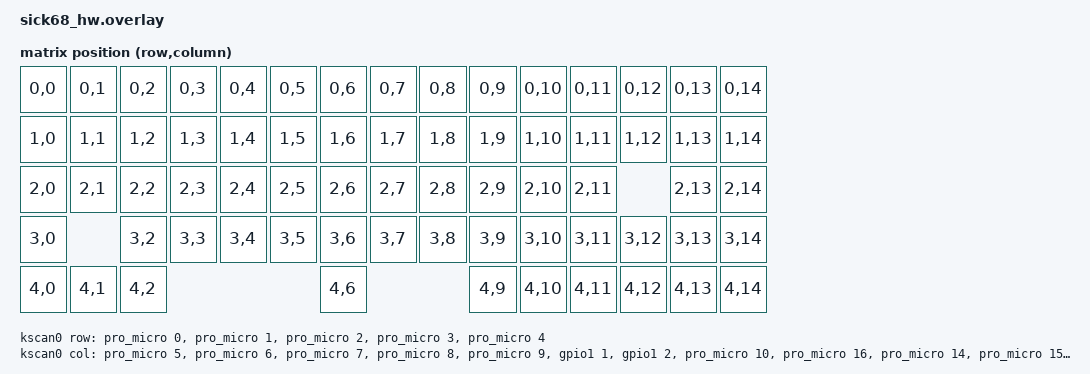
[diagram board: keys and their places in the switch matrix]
/*
 * ZMK Device Tree Overlay for Sick68 Handwired (sick68_hw)
 * Controller: nice_nano_v2 / SuperMini nRF52840
 *
 * QMK Pin Mapping from keyboard.json:
 *   Rows: ["D3", "D2", "D1", "D0", "D4"]
 *   Cols: ["C6", "D7", "E6", "B4", "B5", "B0", "D5", "B6", "B2", "B3", "B1", "F7", "F6", "F5", "F4"]
 *
 * QMK ATmega32u4 to ZMK pro_micro pin translation:
 *   D0=3, D1=2, D2=1, D3=0, D4=4, C6=5, D7=6, E6=7, B4=8, B5=9, B6=10
 *   B2=16(MOSI), B3=14(MISO), B1=15(SCK), F7=18(A0), F6=19(A1), F5=20(A2), F4=21(A3)
 *
 * IMPORTANT: The QMK config uses B0 and D5 which are NOT on the pro_micro connector.
 * For nice_nano/SuperMini, you need to either:
 *   1. Rewire those 2 columns to available GPIO pins P1.01 and P1.02, OR
 *   2. Choose different pins that are physically accessible on your board
 *
 * Available pro_micro pins: 0-10, 14, 15, 16, 18, 19, 20, 21 (18 pins total)
 * Required pins: 5 rows + 15 cols = 20 pins
 * Solution: Use 2 direct GPIO pins (P1.01 and P1.02) for B0 and D5 columns
 *           These may require soldering to test pads on the SuperMini board
 */

#include <dt-bindings/gpio/gpio.h>
#include <dt-bindings/zmk/matrix_transform.h>
#include <physical_layouts.dtsi>

/ {
    chosen {
        zmk,kscan = &kscan0;
        zmk,physical-layout = &physical_layout0;
    };

    kscan0: kscan {
        compatible = "zmk,kscan-gpio-matrix";
        wakeup-source;
        
        // COL2ROW diode direction (same as QMK config)
        diode-direction = "col2row";

        // QMK Rows: ["D3", "D2", "D1", "D0", "D4"]
        // Mapped to ZMK pro_micro: D3=0, D2=1, D1=2, D0=3, D4=4
        row-gpios = <
            &pro_micro 0 (GPIO_ACTIVE_HIGH | GPIO_PULL_DOWN)
            &pro_micro 1 (GPIO_ACTIVE_HIGH | GPIO_PULL_DOWN)
            &pro_micro 2 (GPIO_ACTIVE_HIGH | GPIO_PULL_DOWN)
            &pro_micro 3 (GPIO_ACTIVE_HIGH | GPIO_PULL_DOWN)
            &pro_micro 4 (GPIO_ACTIVE_HIGH | GPIO_PULL_DOWN)
        >;

        // QMK Cols: ["C6", "D7", "E6", "B4", "B5", "B0", "D5", "B6", "B2", "B3", "B1", "F7", "F6", "F5", "F4"]
        // Mapped to ZMK:
        //   C6=5, D7=6, E6=7, B4=8, B5=9
        //   B0 -> P1.01 (wire to this GPIO pin)
        //   D5 -> P1.02 (wire to this GPIO pin)
        //   B6=10, B2=16, B3=14, B1=15, F7=18, F6=19, F5=20, F4=21
        col-gpios = <
            &pro_micro 5 (GPIO_ACTIVE_LOW | GPIO_PULL_UP)
            &pro_micro 6 (GPIO_ACTIVE_LOW | GPIO_PULL_UP)
            &pro_micro 7 (GPIO_ACTIVE_LOW | GPIO_PULL_UP)
            &pro_micro 8 (GPIO_ACTIVE_LOW | GPIO_PULL_UP)
            &pro_micro 9 (GPIO_ACTIVE_LOW | GPIO_PULL_UP)
            &gpio1 1 (GPIO_ACTIVE_LOW | GPIO_PULL_UP)
            &gpio1 2 (GPIO_ACTIVE_LOW | GPIO_PULL_UP)
            &pro_micro 10 (GPIO_ACTIVE_LOW | GPIO_PULL_UP)
            &pro_micro 16 (GPIO_ACTIVE_LOW | GPIO_PULL_UP)
            &pro_micro 14 (GPIO_ACTIVE_LOW | GPIO_PULL_UP)
            &pro_micro 15 (GPIO_ACTIVE_LOW | GPIO_PULL_UP)
            &pro_micro 18 (GPIO_ACTIVE_LOW | GPIO_PULL_UP)
            &pro_micro 19 (GPIO_ACTIVE_LOW | GPIO_PULL_UP)
            &pro_micro 20 (GPIO_ACTIVE_LOW | GPIO_PULL_UP)
            &pro_micro 21 (GPIO_ACTIVE_LOW | GPIO_PULL_UP)
        >;
    };

    // Physical layout for ZMK Studio - 65% ANSI (68 keys)
    // Coordinates are in centi-units (100 = 1 key unit = 19.05mm)
    // Format: &key_physical_attrs <width> <height> <x> <y>
    physical_layout0: physical_layout {
        compatible = "zmk,physical-layout";
        display-name = "65% ANSI";
        transform = <&transform>;
        keys  //                     w   h    x    y
            = <&key_physical_attrs 100 100    0    0>   // Esc
            , <&key_physical_attrs 100 100  100    0>   // 1
            , <&key_physical_attrs 100 100  200    0>   // 2
            , <&key_physical_attrs 100 100  300    0>   // 3
            , <&key_physical_attrs 100 100  400    0>   // 4
            , <&key_physical_attrs 100 100  500    0>   // 5
            , <&key_physical_attrs 100 100  600    0>   // 6
            , <&key_physical_attrs 100 100  700    0>   // 7
            , <&key_physical_attrs 100 100  800    0>   // 8
            , <&key_physical_attrs 100 100  900    0>   // 9
            , <&key_physical_attrs 100 100 1000    0>   // 0
            , <&key_physical_attrs 100 100 1100    0>   // -
            , <&key_physical_attrs 100 100 1200    0>   // =
            , <&key_physical_attrs 200 100 1300    0>   // Backspace (2u)
            , <&key_physical_attrs 100 100 1500    0>   // Grave/~
            , <&key_physical_attrs 150 100    0  100>   // Tab (1.5u)
            , <&key_physical_attrs 100 100  150  100>   // Q
            , <&key_physical_attrs 100 100  250  100>   // W
            , <&key_physical_attrs 100 100  350  100>   // E
            , <&key_physical_attrs 100 100  450  100>   // R
            , <&key_physical_attrs 100 100  550  100>   // T
            , <&key_physical_attrs 100 100  650  100>   // Y
            , <&key_physical_attrs 100 100  750  100>   // U
            , <&key_physical_attrs 100 100  850  100>   // I
            , <&key_physical_attrs 100 100  950  100>   // O
            , <&key_physical_attrs 100 100 1050  100>   // P
            , <&key_physical_attrs 100 100 1150  100>   // [
            , <&key_physical_attrs 100 100 1250  100>   // ]
            , <&key_physical_attrs 150 100 1350  100>   // \ (1.5u)
            , <&key_physical_attrs 100 100 1500  100>   // Delete
            , <&key_physical_attrs 175 100    0  200>   // Caps (1.75u)
            , <&key_physical_attrs 100 100  175  200>   // A
            , <&key_physical_attrs 100 100  275  200>   // S
            , <&key_physical_attrs 100 100  375  200>   // D
            , <&key_physical_attrs 100 100  475  200>   // F
            , <&key_physical_attrs 100 100  575  200>   // G
            , <&key_physical_attrs 100 100  675  200>   // H
            , <&key_physical_attrs 100 100  775  200>   // J
            , <&key_physical_attrs 100 100  875  200>   // K
            , <&key_physical_attrs 100 100  975  200>   // L
            , <&key_physical_attrs 100 100 1075  200>   // ;
            , <&key_physical_attrs 100 100 1175  200>   // '
            , <&key_physical_attrs 225 100 1275  200>   // Enter (2.25u)
            , <&key_physical_attrs 100 100 1500  200>   // PgUp
            , <&key_physical_attrs 225 100    0  300>   // LShift (2.25u)
            , <&key_physical_attrs 100 100  225  300>   // Z
            , <&key_physical_attrs 100 100  325  300>   // X
            , <&key_physical_attrs 100 100  425  300>   // C
            , <&key_physical_attrs 100 100  525  300>   // V
            , <&key_physical_attrs 100 100  625  300>   // B
            , <&key_physical_attrs 100 100  725  300>   // N
            , <&key_physical_attrs 100 100  825  300>   // M
            , <&key_physical_attrs 100 100  925  300>   // ,
            , <&key_physical_attrs 100 100 1025  300>   // .
            , <&key_physical_attrs 100 100 1125  300>   // /
            , <&key_physical_attrs 175 100 1225  300>   // RShift (1.75u)
            , <&key_physical_attrs 100 100 1400  300>   // Up
            , <&key_physical_attrs 100 100 1500  300>   // PgDn
            , <&key_physical_attrs 125 100    0  400>   // LCtrl (1.25u)
            , <&key_physical_attrs 125 100  125  400>   // GUI (1.25u)
            , <&key_physical_attrs 125 100  250  400>   // LAlt (1.25u)
            , <&key_physical_attrs 625 100  375  400>   // Space (6.25u)
            , <&key_physical_attrs 100 100 1000  400>   // RAlt
            , <&key_physical_attrs 100 100 1100  400>   // Fn
            , <&key_physical_attrs 100 100 1200  400>   // RCtrl
            , <&key_physical_attrs 100 100 1300  400>   // Left
            , <&key_physical_attrs 100 100 1400  400>   // Down
            , <&key_physical_attrs 100 100 1500  400>   // Right
            ;
    };

    transform: matrix_transform {
        compatible = "zmk,matrix-transform";
        rows = <5>;
        columns = <15>;

        // LAYOUT_65_ansi matrix mapping from QMK keyboard.json
        // 68 keys total for sick68
        // RC(row, col) format - corresponds to physical key positions
        map = <
            RC(0,0) RC(0,1) RC(0,2) RC(0,3) RC(0,4) RC(0,5) RC(0,6) RC(0,7) RC(0,8) RC(0,9) RC(0,10) RC(0,11) RC(0,12) RC(0,13) RC(0,14)
            RC(1,0) RC(1,1) RC(1,2) RC(1,3) RC(1,4) RC(1,5) RC(1,6) RC(1,7) RC(1,8) RC(1,9) RC(1,10) RC(1,11) RC(1,12) RC(1,13) RC(1,14)
            RC(2,0) RC(2,1) RC(2,2) RC(2,3) RC(2,4) RC(2,5) RC(2,6) RC(2,7) RC(2,8) RC(2,9) RC(2,10) RC(2,11)          RC(2,13) RC(2,14)
            RC(3,0)         RC(3,2) RC(3,3) RC(3,4) RC(3,5) RC(3,6) RC(3,7) RC(3,8) RC(3,9) RC(3,10) RC(3,11) RC(3,12) RC(3,13) RC(3,14)
            RC(4,0) RC(4,1) RC(4,2)                         RC(4,6)                 RC(4,9) RC(4,10) RC(4,11) RC(4,12) RC(4,13) RC(4,14)
        >;
    };
};

